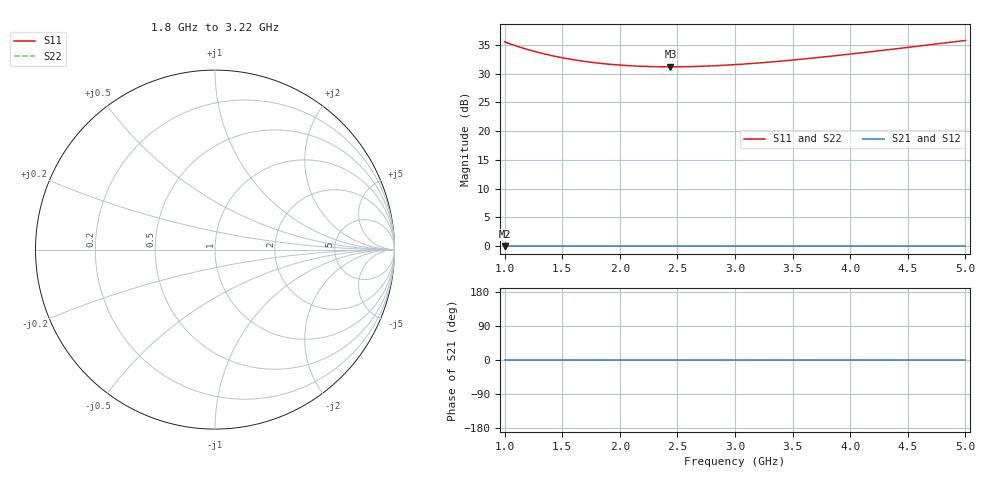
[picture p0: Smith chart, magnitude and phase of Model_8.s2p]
# GHZ S RI R 50
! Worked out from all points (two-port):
!   401 points, 1 GHz to 5 GHz, reference 50 ohm
!   highest |S21| = 0.00 dB at 1 GHz (marker M1); lowest = 0.0 dB at 1 GHz (marker M2)
!   |S21| within 3 dB of the highest: start of sweep to end of sweep
!   lowest |S11| = 31.2 dB at 2.44 GHz (marker M3)
!   |S11| at or under -10 dB: nowhere
!   |S22| runs from 31.2 to 35.8 dB; largest |S21 - S12| = 0
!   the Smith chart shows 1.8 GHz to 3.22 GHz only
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1  59.87 0  1 0  1 0  59.87 0
1.02  58.85 0  1 0  1 0  58.85 0
1.15  53.16 0  1 0  1 0  53.16 0
1.22  50.68 0  1 0  1 0  50.68 0
1.3  48.23 0  1 0  1 0  48.23 0
1.38  46.14 0  1 0  1 0  46.14 0
1.47  44.14 0  1 0  1 0  44.14 0
1.57  42.29 0  1 0  1 0  42.29 0
1.67  40.78 0  1 0  1 0  40.78 0
1.82  39.02 0  1 0  1 0  39.02 0
1.98  37.71 0  1 0  1 0  37.71 0
2.15  36.82 0  1 0  1 0  36.82 0
2.34  36.36 0  1 0  1 0  36.36 0
2.44  36.3 0  1 0  1 0  36.3 0
2.71  36.71 0  1 0  1 0  36.71 0
3  37.93 0  1 0  1 0  37.93 0
3.33  40.13 0  1 0  1 0  40.13 0
3.67  43.2 0  1 0  1 0  43.2 0
4  46.86 0  1 0  1 0  46.86 0
4.34  51.28 0  1 0  1 0  51.28 0
4.64  55.68 0  1 0  1 0  55.68 0
5  61.56 0  1 0  1 0  61.56 0
